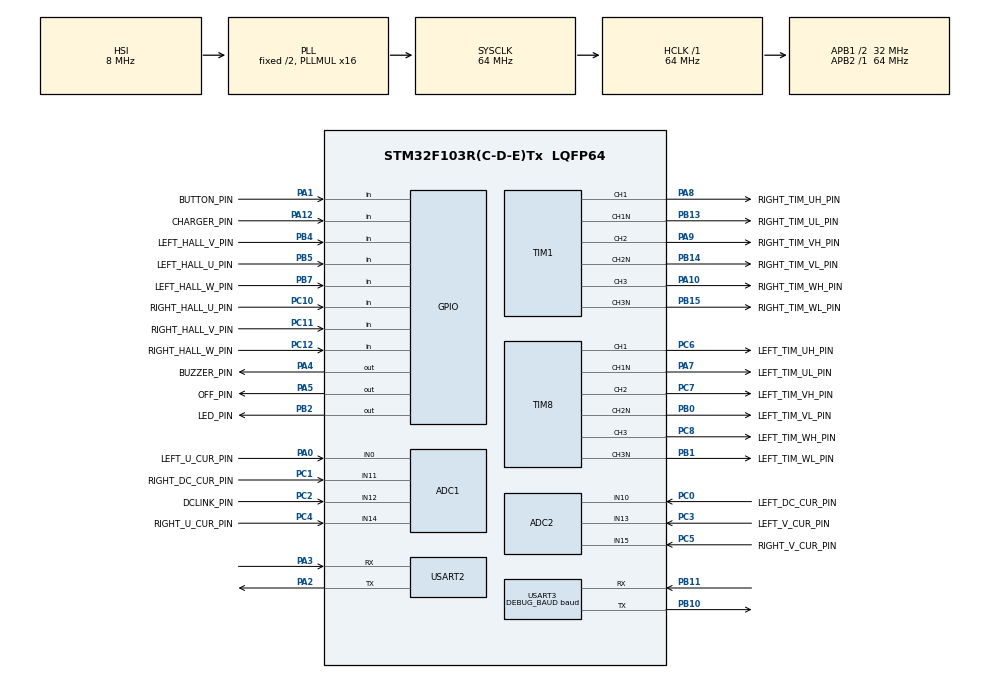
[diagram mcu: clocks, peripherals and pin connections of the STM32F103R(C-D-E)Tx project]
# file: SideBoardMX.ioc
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ADC1.Channel-0\#ChannelRegularConversion=ADC_CHANNEL_14
ADC1.Channel-1\#ChannelRegularConversion=ADC_CHANNEL_0
ADC1.Channel-2\#ChannelRegularConversion=ADC_CHANNEL_11
ADC1.Channel-3\#ChannelRegularConversion=ADC_CHANNEL_12
ADC1.Channel-4\#ChannelRegularConversion=ADC_CHANNEL_TEMPSENSOR
ADC1.ExternalTrigConv=ADC_EXTERNALTRIGCONV_T8_TRGO
ADC1.NbrOfConversion=5
ADC1.NbrOfConversionFlag=1
ADC1.Rank-0\#ChannelRegularConversion=1
ADC1.Rank-1\#ChannelRegularConversion=2
ADC1.Rank-2\#ChannelRegularConversion=3
ADC1.Rank-3\#ChannelRegularConversion=4
ADC1.Rank-4\#ChannelRegularConversion=5
ADC1.SamplingTime-0\#ChannelRegularConversion=ADC_SAMPLETIME_7CYCLES_5
ADC1.SamplingTime-1\#ChannelRegularConversion=ADC_SAMPLETIME_7CYCLES_5
ADC1.SamplingTime-2\#ChannelRegularConversion=ADC_SAMPLETIME_13CYCLES_5
ADC1.SamplingTime-3\#ChannelRegularConversion=ADC_SAMPLETIME_13CYCLES_5
ADC1.SamplingTime-4\#ChannelRegularConversion=ADC_SAMPLETIME_239CYCLES_5
ADC1.master=1
ADC2.Channel-0\#ChannelRegularConversion=ADC_CHANNEL_15
ADC2.Channel-1\#ChannelRegularConversion=ADC_CHANNEL_13
ADC2.Channel-2\#ChannelRegularConversion=ADC_CHANNEL_10
ADC2.NbrOfConversion=3
ADC2.NbrOfConversionFlag=1
ADC2.Rank-0\#ChannelRegularConversion=1
ADC2.Rank-1\#ChannelRegularConversion=2
ADC2.Rank-2\#ChannelRegularConversion=3
ADC2.SamplingTime-0\#ChannelRegularConversion=ADC_SAMPLETIME_7CYCLES_5
ADC2.SamplingTime-1\#ChannelRegularConversion=ADC_SAMPLETIME_7CYCLES_5
ADC2.SamplingTime-2\#ChannelRegularConversion=ADC_SAMPLETIME_13CYCLES_5
Dma.ADC1.4.Direction=DMA_PERIPH_TO_MEMORY
Dma.ADC1.4.Instance=DMA1_Channel1
Dma.ADC1.4.MemDataAlignment=DMA_MDATAALIGN_HALFWORD
Dma.ADC1.4.MemInc=DMA_MINC_ENABLE
Dma.ADC1.4.Mode=DMA_NORMAL
Dma.ADC1.4.PeriphDataAlignment=DMA_PDATAALIGN_HALFWORD
Dma.ADC1.4.PeriphInc=DMA_PINC_DISABLE
Dma.ADC1.4.Priority=DMA_PRIORITY_LOW
Dma.Request0=USART2_TX
Dma.Request1=USART2_RX
Dma.Request2=USART3_RX
Dma.Request3=USART3_TX
Dma.Request4=ADC1
Dma.USART2_RX.1.Direction=DMA_PERIPH_TO_MEMORY
Dma.USART2_RX.1.Instance=DMA1_Channel6
Dma.USART2_RX.1.MemDataAlignment=DMA_MDATAALIGN_BYTE
Dma.USART2_RX.1.MemInc=DMA_MINC_ENABLE
Dma.USART2_RX.1.Mode=DMA_CIRCULAR
Dma.USART2_RX.1.PeriphDataAlignment=DMA_PDATAALIGN_BYTE
Dma.USART2_RX.1.PeriphInc=DMA_PINC_DISABLE
Dma.USART2_RX.1.Priority=DMA_PRIORITY_LOW
Dma.USART2_TX.0.Direction=DMA_MEMORY_TO_PERIPH
Dma.USART2_TX.0.Instance=DMA1_Channel7
Dma.USART2_TX.0.MemDataAlignment=DMA_MDATAALIGN_BYTE
Dma.USART2_TX.0.MemInc=DMA_MINC_ENABLE
Dma.USART2_TX.0.Mode=DMA_NORMAL
Dma.USART2_TX.0.PeriphDataAlignment=DMA_PDATAALIGN_BYTE
Dma.USART2_TX.0.PeriphInc=DMA_PINC_DISABLE
Dma.USART2_TX.0.Priority=DMA_PRIORITY_LOW
Dma.USART3_RX.2.Direction=DMA_PERIPH_TO_MEMORY
Dma.USART3_RX.2.Instance=DMA1_Channel3
Dma.USART3_RX.2.MemDataAlignment=DMA_MDATAALIGN_BYTE
Dma.USART3_RX.2.MemInc=DMA_MINC_ENABLE
Dma.USART3_RX.2.Mode=DMA_CIRCULAR
Dma.USART3_RX.2.PeriphDataAlignment=DMA_PDATAALIGN_BYTE
Dma.USART3_RX.2.PeriphInc=DMA_PINC_DISABLE
Dma.USART3_RX.2.Priority=DMA_PRIORITY_LOW
Dma.USART3_TX.3.Direction=DMA_MEMORY_TO_PERIPH
Dma.USART3_TX.3.Instance=DMA1_Channel2
Dma.USART3_TX.3.MemDataAlignment=DMA_MDATAALIGN_BYTE
Dma.USART3_TX.3.MemInc=DMA_MINC_ENABLE
Dma.USART3_TX.3.Mode=DMA_NORMAL
Dma.USART3_TX.3.PeriphDataAlignment=DMA_PDATAALIGN_BYTE
Dma.USART3_TX.3.PeriphInc=DMA_PINC_DISABLE
Dma.USART3_TX.3.Priority=DMA_PRIORITY_LOW
Mcu.Family=STM32F1
Mcu.Name=STM32F103R(C-D-E)Tx
Mcu.Package=LQFP64
Mcu.UserConstants=CONTROL_BAUD,19200;DEBUG_BAUD,115200;PWM_FREQ,16000;DEAD_TIME,32
NVIC.DMA1_Channel1_IRQn=true\:0\:0\:false\:false\:true\:false\:true
NVIC.DMA1_Channel2_IRQn=true\:0\:0\:false\:false\:true\:false\:true
NVIC.DMA1_Channel3_IRQn=true\:0\:0\:false\:false\:true\:false\:true
NVIC.DMA1_Channel6_IRQn=true\:5\:0\:true\:false\:true\:false\:true
NVIC.DMA1_Channel7_IRQn=true\:5\:0\:true\:false\:true\:false\:true
NVIC.PriorityGroup=NVIC_PRIORITYGROUP_4
PA0-WKUP.GPIO_Label=LEFT_U_CUR_PIN
PA0-WKUP.Signal=SharedAnalog_PA0
PA1.GPIO_Label=BUTTON_PIN
PA1.Signal=GPIO_Input
PA10.GPIO_Label=RIGHT_TIM_WH_PIN
PA10.Signal=S_TIM1_CH3
PA12.GPIO_Label=CHARGER_PIN
PA12.Signal=GPIO_Input
PA13.Mode=Serial_Wire
PA13.Signal=SYS_JTMS-SWDIO
PA14.Mode=Serial_Wire
PA14.Signal=SYS_JTCK-SWCLK
PA2.Mode=Asynchronous
PA2.Signal=USART2_TX
PA3.Mode=Asynchronous
PA3.Signal=USART2_RX
PA4.GPIO_Label=BUZZER_PIN
PA4.Signal=GPIO_Output
PA5.GPIO_Label=OFF_PIN
PA5.Signal=GPIO_Output
PA7.GPIO_Label=LEFT_TIM_UL_PIN
PA7.Mode=PWM Generation1 CH1 CH1N
PA7.Signal=TIM8_CH1N
PA8.GPIO_Label=RIGHT_TIM_UH_PIN
PA8.Signal=S_TIM1_CH1
PA9.GPIO_Label=RIGHT_TIM_VH_PIN
PA9.Signal=S_TIM1_CH2
PB0.GPIO_Label=LEFT_TIM_VL_PIN
PB0.Mode=PWM Generation2 CH2 CH2N
PB0.Signal=TIM8_CH2N
PB1.GPIO_Label=LEFT_TIM_WL_PIN
PB1.Mode=PWM Generation3 CH3 CH3N
PB1.Signal=TIM8_CH3N
PB10.Mode=Asynchronous
PB10.Signal=USART3_TX
PB11.Mode=Asynchronous
PB11.Signal=USART3_RX
PB13.GPIO_Label=RIGHT_TIM_UL_PIN
PB13.Mode=PWM Generation1 CH1 CH1N
PB13.Signal=TIM1_CH1N
PB14.GPIO_Label=RIGHT_TIM_VL_PIN
PB14.Mode=PWM Generation2 CH2 CH2N
PB14.Signal=TIM1_CH2N
PB15.GPIO_Label=RIGHT_TIM_WL_PIN
PB15.Mode=PWM Generation3 CH3 CH3N
PB15.Signal=TIM1_CH3N
PB2.GPIO_Label=LED_PIN
PB2.Signal=GPIO_Output
PB4.GPIO_Label=LEFT_HALL_V_PIN
PB4.Signal=GPIO_Input
PB5.GPIO_Label=LEFT_HALL_U_PIN
PB5.Signal=GPIO_Input
PB7.GPIO_Label=LEFT_HALL_W_PIN
PB7.Signal=GPIO_Input
PC0.GPIO_Label=LEFT_DC_CUR_PIN
PC0.Signal=SharedAnalog_PC0
PC1.GPIO_Label=RIGHT_DC_CUR_PIN
PC1.Signal=SharedAnalog_PC1
PC10.GPIO_Label=RIGHT_HALL_U_PIN
PC10.Signal=GPIO_Input
PC11.GPIO_Label=RIGHT_HALL_V_PIN
PC11.Signal=GPIO_Input
PC12.GPIO_Label=RIGHT_HALL_W_PIN
PC12.Signal=GPIO_Input
PC14-OSC32_IN.Mode=LSE-External-Clock-Source
PC14-OSC32_IN.Signal=RCC_OSC32_IN
PC15-OSC32_OUT.Mode=LSE-External-Clock-Source
PC15-OSC32_OUT.Signal=RCC_OSC32_OUT
PC2.GPIO_Label=DCLINK_PIN
PC2.Signal=SharedAnalog_PC2
PC3.GPIO_Label=LEFT_V_CUR_PIN
PC3.Signal=SharedAnalog_PC3
PC4.GPIO_Label=RIGHT_U_CUR_PIN
PC4.Signal=SharedAnalog_PC4
PC5.GPIO_Label=RIGHT_V_CUR_PIN
PC5.Signal=SharedAnalog_PC5
PC6.GPIO_Label=LEFT_TIM_UH_PIN
PC6.Signal=S_TIM8_CH1
PC7.GPIO_Label=LEFT_TIM_VH_PIN
PC7.Signal=S_TIM8_CH2
PC8.GPIO_Label=LEFT_TIM_WH_PIN
PC8.Signal=S_TIM8_CH3
PD0-OSC_IN.Mode=HSE-External-Clock-Source
PD0-OSC_IN.Signal=RCC_OSC_IN
PD1-OSC_OUT.Mode=HSE-External-Clock-Source
PD1-OSC_OUT.Signal=RCC_OSC_OUT
ProjectManager.HeapSize=0x200
ProjectManager.StackSize=0x400
ProjectManager.TargetToolchain=MDK-ARM V5
RCC.ADCPresc=RCC_ADCPCLK2_DIV8
RCC.AHBFreq_Value=64000000
RCC.APB1CLKDivider=RCC_HCLK_DIV2
RCC.APB1Freq_Value=32000000
RCC.APB1TimFreq_Value=64000000
RCC.APB2Freq_Value=64000000
RCC.APB2TimFreq_Value=64000000
RCC.HCLKFreq_Value=64000000
RCC.PLLMUL=RCC_PLL_MUL16
RCC.SYSCLKFreq_VALUE=64000000
RCC.SYSCLKSource=RCC_SYSCLKSOURCE_PLLCLK
RCC.USBFreq_Value=64000000
SH.S_TIM1_CH1.0=TIM1_CH1,PWM Generation1 CH1 CH1N
SH.S_TIM1_CH2.0=TIM1_CH2,PWM Generation2 CH2 CH2N
SH.S_TIM1_CH3.0=TIM1_CH3,PWM Generation3 CH3 CH3N
SH.S_TIM8_CH1.0=TIM8_CH1,PWM Generation1 CH1 CH1N
SH.S_TIM8_CH2.0=TIM8_CH2,PWM Generation2 CH2 CH2N
SH.S_TIM8_CH3.0=TIM8_CH3,PWM Generation3 CH3 CH3N
SH.SharedAnalog_PA0.0=GPIO_Analog
SH.SharedAnalog_PA0.1=ADC1_IN0,IN0
SH.SharedAnalog_PC0.0=GPIO_Analog
SH.SharedAnalog_PC0.1=ADC2_IN10,IN10
SH.SharedAnalog_PC1.0=GPIO_Analog
SH.SharedAnalog_PC1.1=ADC1_IN11,IN11
SH.SharedAnalog_PC2.0=GPIO_Analog
SH.SharedAnalog_PC2.1=ADC1_IN12,IN12
SH.SharedAnalog_PC3.0=GPIO_Analog
SH.SharedAnalog_PC3.1=ADC2_IN13,IN13
SH.SharedAnalog_PC4.0=GPIO_Analog
SH.SharedAnalog_PC4.1=ADC1_IN14,IN14
SH.SharedAnalog_PC5.0=GPIO_Analog
SH.SharedAnalog_PC5.1=ADC2_IN15,IN15
TIM1.BreakPolarity=TIM_BREAKPOLARITY_LOW
TIM1.Channel-PWM\ Generation1\ CH1\ CH1N=TIM_CHANNEL_1
TIM1.Channel-PWM\ Generation2\ CH2\ CH2N=TIM_CHANNEL_2
TIM1.Channel-PWM\ Generation3\ CH3\ CH3N=TIM_CHANNEL_3
TIM1.CounterMode=TIM_COUNTERMODE_CENTERALIGNED1
TIM1.DeadTime=DEAD_TIME
TIM1.OCNIdleState_1=TIM_OCNIDLESTATE_SET
TIM1.OCNIdleState_2=TIM_OCNIDLESTATE_SET
TIM1.OCNIdleState_3=TIM_OCNIDLESTATE_SET
TIM1.OCNPolarity_1=TIM_OCNPOLARITY_LOW
TIM1.OCNPolarity_2=TIM_OCNPOLARITY_LOW
TIM1.OCNPolarity_3=TIM_OCNPOLARITY_LOW
TIM1.OCPolarity_1=TIM_OCPOLARITY_HIGH
TIM1.OCPolarity_2=TIM_OCPOLARITY_HIGH
TIM1.OffStateIDLEMode=TIM_OSSI_ENABLE
TIM1.OffStateRunMode=TIM_OSSR_ENABLE
TIM1.Period=64000000 / 2 / PWM_FREQ
TIM1.TIM_MasterOutputTrigger=TIM_TRGO_ENABLE
TIM8.BreakPolarity=TIM_BREAKPOLARITY_LOW
TIM8.Channel-PWM\ Generation1\ CH1\ CH1N=TIM_CHANNEL_1
TIM8.Channel-PWM\ Generation2\ CH2\ CH2N=TIM_CHANNEL_2
TIM8.Channel-PWM\ Generation3\ CH3\ CH3N=TIM_CHANNEL_3
TIM8.CounterMode=TIM_COUNTERMODE_CENTERALIGNED1
TIM8.DeadTime=DEAD_TIME
TIM8.OCNIdleState_1=TIM_OCNIDLESTATE_SET
TIM8.OCNIdleState_2=TIM_OCNIDLESTATE_SET
TIM8.OCNIdleState_3=TIM_OCNIDLESTATE_SET
TIM8.OCNPolarity_1=TIM_OCNPOLARITY_LOW
TIM8.OCNPolarity_2=TIM_OCNPOLARITY_LOW
TIM8.OCNPolarity_3=TIM_OCNPOLARITY_LOW
TIM8.OffStateIDLEMode=TIM_OSSI_ENABLE
TIM8.OffStateRunMode=TIM_OSSR_ENABLE
TIM8.Period=64000000 / 2 / PWM_FREQ
TIM8.TIM_MasterOutputTrigger=TIM_TRGO_UPDATE
TIM8.TIM_MasterSlaveMode=TIM_MASTERSLAVEMODE_ENABLE
USART2.BaudRate=CONTROL_BAUD
USART2.VirtualMode=VM_ASYNC
USART3.BaudRate=DEBUG_BAUD
USART3.VirtualMode=VM_ASYNC
VP_ADC1_TempSens_Input.Mode=IN-TempSens
VP_TIM1_VS_ClockSourceINT.Mode=Internal
VP_TIM8_VS_ClockSourceINT.Mode=Internal
VP_TIM8_VS_ClockSourceITR.Mode=TriggerSource_ITR0
VP_TIM8_VS_ControllerModeGated.Mode=Gated Mode
board=custom

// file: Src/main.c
/* USER CODE BEGIN Header */
/**
  ******************************************************************************
  * @file           : main.c
  * @brief          : Main program body
  ******************************************************************************
  * @attention
  *
  * <h2><center>&copy; Copyright (c) 2019 STMicroelectronics.
  * All rights reserved.</center></h2>
  *
  * This software component is licensed by ST under BSD 3-Clause license,
  * the "License"; You may not use this file except in compliance with the
  * License. You may obtain a copy of the License at:
  *                        opensource.org/licenses/BSD-3-Clause
  *
  ******************************************************************************
  */
/* USER CODE END Header */

#include "main.h"
#include "adc.h"
#include "dma.h"
#include "tim.h"
#include "usart.h"
#include "gpio.h"

/* USER CODE BEGIN PTD */
typedef struct{
  uint8_t MODE;
   uint8_t steer;
   uint8_t speed;
   //uint32_t crc;
} Serialcommand;
enum Mode
{
    MANUAL_MODE = 0,
    AUTOMATIC_MODE = 1
};
/* USER CODE END PTD */

/* USER CODE BEGIN PV */
extern volatile adc_buf_t adc_buffer;
int cmd1;  // normalized input values. -1000 to 1000
int cmd2;
int cmd3;
volatile Serialcommand command;
static int mode = MANUAL_MODE;
int packagePos = 0;
static int speedValue = 0;
static int steerValue = 0;

uint8_t button1, button2;

int steer; // global variable for steering. -1000 to 1000
int speed; // global variable for speed. -1000 to 1000

extern volatile int pwml;  // global variable for pwm left. -1000 to 1000
extern volatile int pwmr;  // global variable for pwm right. -1000 to 1000
extern volatile int weakl; // global variable for field weakening left. -1000 to 1000
extern volatile int weakr; // global variable for field weakening right. -1000 to 1000

extern uint8_t buzzerFreq;    // global variable for the buzzer pitch. can be 1, 2, 3, 4, 5, 6, 7...
extern uint8_t buzzerPattern; // global variable for the buzzer pattern. can be 1, 2, 3, 4, 5, 6, 7...

extern uint8_t enable; // global variable for motor enable

extern volatile uint32_t timeout; // global variable for timeout
extern float batteryVoltage; // global variable for battery voltage

uint32_t inactivity_timeout_counter;
int milli_vel_error_sum = 0;
/* USER CODE END PV */

void SystemClock_Config(void);

/* USER CODE BEGIN 0 */

void poweroff() {
    if (abs(speed) < 20) {
        buzzerPattern = 0;
        enable = 0;
        for (int i = 0; i < 8; i++) {
            buzzerFreq = i;
            HAL_Delay(100);
        }
        HAL_GPIO_WritePin(OFF_PIN_GPIO_Port, OFF_PIN_Pin, 0);
        while(1) {}
    }
}
/* USER CODE END 0 */

int main(void)
{

  /* MCU Configuration--------------------------------------------------------*/

  /* Reset of all peripherals, Initializes the Flash interface and the Systick. */
  HAL_Init();

  /* USER CODE BEGIN Init */
  __HAL_RCC_AFIO_CLK_ENABLE();

  /* USER CODE END Init */

  /* Configure the system clock */
  SystemClock_Config();

  /* USER CODE BEGIN SysInit */
  /**Configure the Systick interrupt time
    */
  HAL_SYSTICK_Config(HAL_RCC_GetHCLKFreq() / 1000);

  /**Configure the Systick
    */
  HAL_SYSTICK_CLKSourceConfig(SYSTICK_CLKSOURCE_HCLK);
  /* USER CODE END SysInit */

  /* Initialize all configured peripherals */
  MX_GPIO_Init();
  MX_DMA_Init();
  MX_USART2_UART_Init();
  MX_USART3_UART_Init();
  MX_TIM1_Init();
  MX_TIM8_Init();
  MX_ADC1_Init();
  MX_ADC2_Init();
  /* USER CODE BEGIN 2 */
//Keep power ON
HAL_GPIO_WritePin(OFF_PIN_GPIO_Port, OFF_PIN_Pin, 1);
//Start ADC
HAL_ADC_Start(&hadc1);
  HAL_ADC_Start(&hadc2);
	//Beep to indicate power on
	for (int i = 8; i >= 0; i--) {
    buzzerFreq = i;
    HAL_Delay(100);
  }
  buzzerFreq = 0;
	//Turn LED ON
	  HAL_GPIO_WritePin(LED_PIN_GPIO_Port, LED_PIN_Pin, 1);
	//Velocity tracking
	 int lastSpeedL = 0, lastSpeedR = 0;
  int speedL = 0, speedR = 0;
  float direction = 1;
	//USART2 DMA setup
	HAL_UART_Receive_DMA(&huart2, (uint8_t *)&command, 4); //It is set to receive 4 bytes for now
//Board temperature reading.
	float board_temp_adc_filtered = (float)adc_buffer.temp;
  float board_temp_deg_c;
	 enable = 1;  // enable motors

  /* USER CODE END 2 */

  /* Infinite loop */
  /* USER CODE BEGIN WHILE */
  while (1)
  {
		HAL_Delay(DELAY_IN_MAIN_LOOP); //delay in ms
		 #ifdef CONTROL_SERIAL_USART2

 switch(command.MODE)
    {
        case 'M':
            mode = MANUAL_MODE;
            break;
        case 'A':
            mode = AUTOMATIC_MODE;
            cmd1 = 0;
            cmd2= 0;
            return 1;
    }

    if (mode == MANUAL_MODE )
    {
            speedValue = command.speed - 80 / 2;
            speedValue *= 1000;
            speedValue /= (80 / 2);
            steerValue = command.steer - 80 / 2;
            steerValue *= 1000;
            steerValue /= (80 / 2);
          cmd1=steerValue;
          cmd2=speedValue;
        }
      cmd1 = CLAMP((uint8_t)command.steer, -1000, 1000);
      cmd2 = CLAMP((uint8_t)command.speed, -1000, 1000);

      timeout = 0;
    #endif
//steer=-200;
//speed=-200;

    // ####### LOW-PASS FILTER #######
    steer = steer * (1.0 - FILTER) + cmd1 * FILTER;
    speed = speed * (1.0 - FILTER) + cmd2 * FILTER;

    // ####### MIXER #######
    speedR = CLAMP(speed * SPEED_COEFFICIENT -  steer * STEER_COEFFICIENT, -1000, 1000);
    speedL = CLAMP(speed * SPEED_COEFFICIENT +  steer * STEER_COEFFICIENT, -1000, 1000);

    #ifdef ADDITIONAL_CODE
      ADDITIONAL_CODE;
    #endif

    // ####### SET OUTPUTS #######
    if ((speedL < lastSpeedL + 50 && speedL > lastSpeedL - 50) && (speedR < lastSpeedR + 50 && speedR > lastSpeedR - 50) && timeout < TIMEOUT) {
    #ifdef INVERT_R_DIRECTION
      pwmr = speedR;
    #else
      pwmr = -speedR;
    #endif
    #ifdef INVERT_L_DIRECTION
      pwml = -speedL;
    #else
      pwml = speedL;
    #endif
    }

    lastSpeedL = speedL;
    lastSpeedR = speedR;

    if (inactivity_timeout_counter % 25 == 0) {
      // ####### CALC BOARD TEMPERATURE #######
      board_temp_adc_filtered = board_temp_adc_filtered * 0.99 + (float)adc_buffer.temp * 0.01;
      board_temp_deg_c = ((float)TEMP_CAL_HIGH_DEG_C - (float)TEMP_CAL_LOW_DEG_C) / ((float)TEMP_CAL_HIGH_ADC - (float)TEMP_CAL_LOW_ADC) * (board_temp_adc_filtered - (float)TEMP_CAL_LOW_ADC) + (float)TEMP_CAL_LOW_DEG_C;

      // ####### DEBUG SERIAL OUT #######
      #ifdef CONTROL_ADC
        setScopeChannel(0, (int)adc_buffer.l_tx2);  // 1: ADC1
        setScopeChannel(1, (int)adc_buffer.l_rx2);  // 2: ADC2
      #endif
      setScopeChannel(2, (int)speedR);  // 3: output speed: 0-1000
      setScopeChannel(3, (int)speedL);  // 4: output speed: 0-1000
      setScopeChannel(4, (int)adc_buffer.batt1);  // 5: for battery voltage calibration
      setScopeChannel(5, (int)(batteryVoltage * 100.0f));  // 6: for verifying battery voltage calibration
      setScopeChannel(6, (int)board_temp_adc_filtered);  // 7: for board temperature calibration
      setScopeChannel(7, (int)board_temp_deg_c);  // 8: for verifying board temperature calibration
      consoleScope();
    }

    // ####### POWEROFF BY POWER-BUTTON #######
    if (HAL_GPIO_ReadPin(BUTTON_PIN_GPIO_Port, BUTTON_PIN_Pin) && weakr == 0 && weakl == 0) {
      enable = 0;
      while (HAL_GPIO_ReadPin(BUTTON_PIN_GPIO_Port, BUTTON_PIN_Pin)) {}
      poweroff();
    }

    // ####### BEEP AND EMERGENCY POWEROFF #######
    if ((TEMP_POWEROFF_ENABLE && board_temp_deg_c >= TEMP_POWEROFF && abs(speed) < 20) || (batteryVoltage < ((float)BAT_LOW_DEAD * (float)BAT_NUMBER_OF_CELLS) && abs(speed) < 20)) {  // poweroff before mainboard burns OR low bat 3
      poweroff();
    } else if (TEMP_WARNING_ENABLE && board_temp_deg_c >= TEMP_WARNING) {  // beep if mainboard gets hot
      buzzerFreq = 4;
      buzzerPattern = 1;
    } else if (batteryVoltage < ((float)BAT_LOW_LVL1 * (float)BAT_NUMBER_OF_CELLS) && batteryVoltage > ((float)BAT_LOW_LVL2 * (float)BAT_NUMBER_OF_CELLS) && BAT_LOW_LVL1_ENABLE) {  // low bat 1: slow beep
      buzzerFreq = 5;
      buzzerPattern = 42;
    } else if (batteryVoltage < ((float)BAT_LOW_LVL2 * (float)BAT_NUMBER_OF_CELLS) && batteryVoltage > ((float)BAT_LOW_DEAD * (float)BAT_NUMBER_OF_CELLS) && BAT_LOW_LVL2_ENABLE) {  // low bat 2: fast beep
      buzzerFreq = 5;
      buzzerPattern = 6;
    } else if (BEEPS_BACKWARD && speed < -50) {  // backward beep
      buzzerFreq = 5;
      buzzerPattern = 1;
    } else {  // do not beep
      buzzerFreq = 0;
      buzzerPattern = 0;
    }

    // ####### INACTIVITY TIMEOUT #######
    if (abs(speedL) > 50 || abs(speedR) > 50) {
      inactivity_timeout_counter = 0;
    } else {
      inactivity_timeout_counter ++;
    }
    if (inactivity_timeout_counter > (INACTIVITY_TIMEOUT * 60 * 1000) / (DELAY_IN_MAIN_LOOP + 1)) {  // rest of main loop needs maybe 1ms
      poweroff();
    }
    /* USER CODE END WHILE */

  }
}

void SystemClock_Config(void)
{
  RCC_OscInitTypeDef RCC_OscInitStruct = {0};
  RCC_ClkInitTypeDef RCC_ClkInitStruct = {0};
  RCC_PeriphCLKInitTypeDef PeriphClkInit = {0};

  /** Initializes the CPU, AHB and APB busses clocks
  */
  RCC_OscInitStruct.OscillatorType = RCC_OSCILLATORTYPE_HSI;
  RCC_OscInitStruct.HSIState = RCC_HSI_ON;
  RCC_OscInitStruct.HSICalibrationValue = RCC_HSICALIBRATION_DEFAULT;
  RCC_OscInitStruct.PLL.PLLState = RCC_PLL_ON;
  RCC_OscInitStruct.PLL.PLLSource = RCC_PLLSOURCE_HSI_DIV2;
  RCC_OscInitStruct.PLL.PLLMUL = RCC_PLL_MUL16;
  if (HAL_RCC_OscConfig(&RCC_OscInitStruct) != HAL_OK)
  {
    Error_Handler();
  }
  /** Initializes the CPU, AHB and APB busses clocks
  */
  RCC_ClkInitStruct.ClockType = RCC_CLOCKTYPE_HCLK|RCC_CLOCKTYPE_SYSCLK
                              |RCC_CLOCKTYPE_PCLK1|RCC_CLOCKTYPE_PCLK2;
  RCC_ClkInitStruct.SYSCLKSource = RCC_SYSCLKSOURCE_PLLCLK;
  RCC_ClkInitStruct.AHBCLKDivider = RCC_SYSCLK_DIV1;
  RCC_ClkInitStruct.APB1CLKDivider = RCC_HCLK_DIV2;
  RCC_ClkInitStruct.APB2CLKDivider = RCC_HCLK_DIV1;

  if (HAL_RCC_ClockConfig(&RCC_ClkInitStruct, FLASH_LATENCY_2) != HAL_OK)
  {
    Error_Handler();
  }
  PeriphClkInit.PeriphClockSelection = RCC_PERIPHCLK_ADC;
  PeriphClkInit.AdcClockSelection = RCC_ADCPCLK2_DIV8;
  if (HAL_RCCEx_PeriphCLKConfig(&PeriphClkInit) != HAL_OK)
  {
    Error_Handler();
  }
}

void Error_Handler(void)
{
}

/************************ (C) COPYRIGHT STMicroelectronics *****END OF FILE****/
